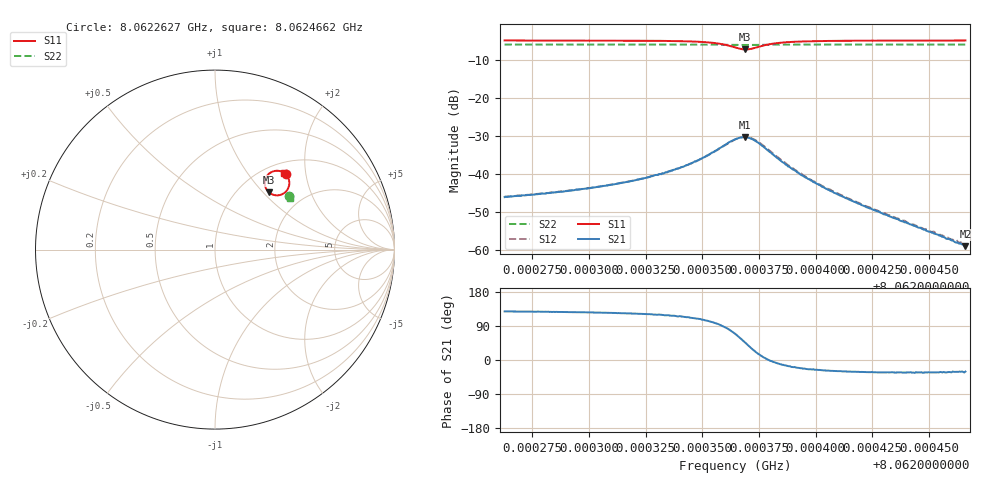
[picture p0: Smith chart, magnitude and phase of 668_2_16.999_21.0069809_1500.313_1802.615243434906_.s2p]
#  HZ  S  RI  R  50.00
! Rohde & Schwarz Vector Network Analyzer
! Rohde-Schwarz,ZNB20-2Port,1311601062101988,3.16
! Created: UTC 3/20/2024, 11:22:02 PM
! freq[Hz]  re:S11  im:S11  re:S21  im:S21  re:S12  im:S12  re:S22  im:S22
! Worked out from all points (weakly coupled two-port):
!   401 points, 8.0622627 GHz to 8.0624662 GHz, reference 50 ohm
!   highest |S21| = -30.30 dB at 8.062369 GHz (marker M1); lowest = -59.1 dB at 8.0624662 GHz (marker M2)
!   lowest |S11| = -7.2 dB at 8.062369 GHz (marker M3), VSWR 2.56, Z = 68.3 + j54 ohm
!   |S11| at or under -10 dB: nowhere
!   |S22| runs from -6.0 to -5.9 dB; largest |S21 - S12| = 0.0012
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8.06226272e9  0.3954 0.4185  -0.00305 0.00389  -0.0029 0.0041  0.4131 0.2968
8.06228103e9  0.3981 0.4153  -0.00334 0.00438  -0.00311 0.00463  0.4138 0.2959
8.0622968e9  0.401 0.4116  -0.00372 0.0051  -0.00339 0.00535  0.4144 0.2949
8.06231663e9  0.4055 0.4044  -0.00427 0.00657  -0.0039 0.00681  0.4151 0.2934
8.06233088e9  0.4099 0.3948  -0.00496 0.00859  -0.00432 0.00883  0.4156 0.2924
8.06234105e9  0.4132 0.3824  -0.00514 0.0112  -0.00452 0.0115  0.416 0.2913
8.06234817e9  0.4141 0.3678  -0.00481 0.0144  -0.00409 0.0145  0.4159 0.2905
8.06235783e9  0.4014 0.3309  -0.00109 0.0219  -0.000102 0.0217  0.4155 0.2885
8.06236139e9  0.3827 0.3132  0.00349 0.0254  0.00446 0.0249  0.4144 0.2878
8.06236444e9  0.3544 0.3027  0.00999 0.0268  0.0107 0.0262  0.4132 0.2874
8.06236648e9  0.3301 0.3039  0.0154 0.0258  0.0158 0.0255  0.4123 0.2878
8.06236902e9  0.3004 0.3191  0.0215 0.0218  0.022 0.0216  0.4111 0.2885
8.06237105e9  0.284 0.3406  0.0244 0.0167  0.0251 0.0163  0.4107 0.2895
8.0623736e9  0.277 0.3706  0.0252 0.0097  0.0261 0.00941  0.4108 0.2909
8.06238021e9  0.2992 0.4215  0.0191 -0.000848  0.0197 -0.00154  0.4126 0.2926
8.06238886e9  0.332 0.438  0.0116 -0.00356  0.0118 -0.00428  0.4147 0.2926
8.06239445e9  0.3451 0.4394  0.00869 -0.00366  0.00869 -0.00418  0.4154 0.2923
8.06239852e9  0.3522 0.439  0.0073 -0.00344  0.0072 -0.00381  0.416 0.2917
8.06240971e9  0.3647 0.4366  0.00468 -0.00263  0.00469 -0.00297  0.4167 0.291
8.0624209e9  0.3721 0.4342  0.00326 -0.00201  0.00319 -0.00227  0.4172 0.2903
8.0624326e9  0.3773 0.4318  0.00233 -0.00149  0.0023 -0.00169  0.418 0.2896
8.06246616e9  0.3858 0.4267  0.000959 -0.000567  0.000944 -0.000645  0.4193 0.2877
